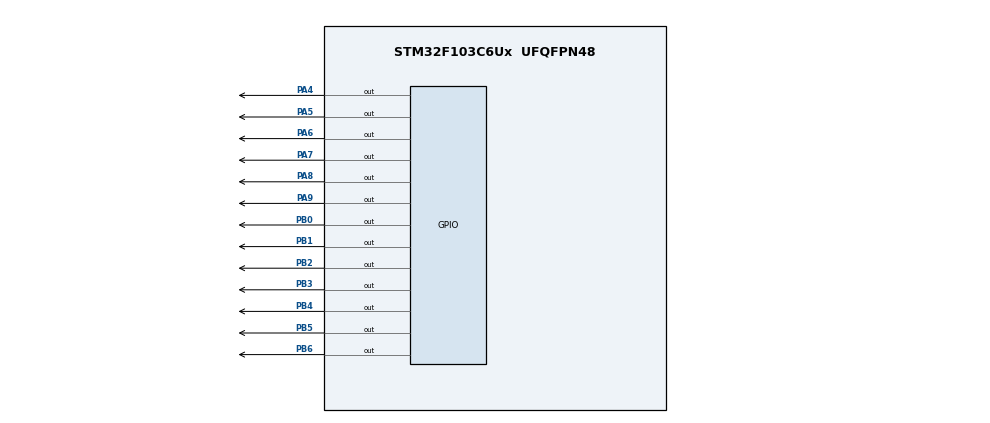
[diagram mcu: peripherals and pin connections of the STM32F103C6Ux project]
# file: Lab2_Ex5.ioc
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Mcu.Family=STM32F1
Mcu.Name=STM32F103C6Ux
Mcu.Package=UFQFPN48
NVIC.PriorityGroup=NVIC_PRIORITYGROUP_4
NVIC.TIM2_IRQn=true\:0\:0\:false\:false\:true\:true\:true
PA4.Signal=GPIO_Output
PA5.Signal=GPIO_Output
PA6.Signal=GPIO_Output
PA7.Signal=GPIO_Output
PA8.Signal=GPIO_Output
PA9.Signal=GPIO_Output
PB0.Signal=GPIO_Output
PB1.Signal=GPIO_Output
PB2.Signal=GPIO_Output
PB3.Signal=GPIO_Output
PB4.Signal=GPIO_Output
PB5.Signal=GPIO_Output
PB6.Signal=GPIO_Output
ProjectManager.HeapSize=0x200
ProjectManager.StackSize=0x400
ProjectManager.TargetToolchain=STM32CubeIDE
RCC.APB1Freq_Value=8000000
RCC.APB2Freq_Value=8000000
TIM2.Prescaler=7999
VP_SYS_VS_ND.Mode=No_Debug
VP_TIM2_VS_ClockSourceINT.Mode=Internal
board=custom

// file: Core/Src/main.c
/* USER CODE BEGIN Header */
/**
  ******************************************************************************
  * @file           : main.c
  * @brief          : Main program body
  ******************************************************************************
  */
/* USER CODE END Header */
#include "main.h"

TIM_HandleTypeDef htim2;

/* USER CODE BEGIN PV */
const int MAX_LED = 4;
int index_led = 0;
int led_buffer[4] = {0, 0, 0, 0};
int counter_scan = 25;
int counter_dot = 100;
int hour = 15;
int minute = 59;
int second = 45;
/* USER CODE END PV */

void SystemClock_Config(void);
static void MX_TIM2_Init(void);
static void MX_GPIO_Init(void);
/* USER CODE BEGIN PFP */
void display7SEG(int num);
void update7SEG(int index);
void updateClockBuffer(void);
/* USER CODE END PFP */

/* USER CODE BEGIN 0 */
const uint8_t SEG_CODES[10] = {
    0x40,
    0x79,
    0x24,
    0x30,
    0x19,
    0x12,
    0x02,
    0x78,
    0x00,
    0x10
};

void display7SEG(int num) {
    if(num < 0 || num > 9) return;

    uint8_t code = SEG_CODES[num];

    HAL_GPIO_WritePin(GPIOB, GPIO_PIN_0, ((code >> 0) & 0x01) ? GPIO_PIN_SET : GPIO_PIN_RESET);
    HAL_GPIO_WritePin(GPIOB, GPIO_PIN_1, ((code >> 1) & 0x01) ? GPIO_PIN_SET : GPIO_PIN_RESET);
    HAL_GPIO_WritePin(GPIOB, GPIO_PIN_2, ((code >> 2) & 0x01) ? GPIO_PIN_SET : GPIO_PIN_RESET);
    HAL_GPIO_WritePin(GPIOB, GPIO_PIN_3, ((code >> 3) & 0x01) ? GPIO_PIN_SET : GPIO_PIN_RESET);
    HAL_GPIO_WritePin(GPIOB, GPIO_PIN_4, ((code >> 4) & 0x01) ? GPIO_PIN_SET : GPIO_PIN_RESET);
    HAL_GPIO_WritePin(GPIOB, GPIO_PIN_5, ((code >> 5) & 0x01) ? GPIO_PIN_SET : GPIO_PIN_RESET);
    HAL_GPIO_WritePin(GPIOB, GPIO_PIN_6, ((code >> 6) & 0x01) ? GPIO_PIN_SET : GPIO_PIN_RESET);
}

void update7SEG(int index) {
    switch (index) {
        case 0:
            display7SEG(led_buffer[0]);
            HAL_GPIO_WritePin(GPIOA, GPIO_PIN_6, GPIO_PIN_RESET);
            break;
        case 1:
            display7SEG(led_buffer[1]);
            HAL_GPIO_WritePin(GPIOA, GPIO_PIN_7, GPIO_PIN_RESET);
            break;
        case 2:
            display7SEG(led_buffer[2]);
            HAL_GPIO_WritePin(GPIOA, GPIO_PIN_8, GPIO_PIN_RESET);
            break;
        case 3:
            display7SEG(led_buffer[3]);
            HAL_GPIO_WritePin(GPIOA, GPIO_PIN_9, GPIO_PIN_RESET);
            break;
        default:
            break;
    }
}

void updateClockBuffer() {
    led_buffer[0] = hour / 10;
    led_buffer[1] = hour % 10;
    led_buffer[2] = minute / 10;
    led_buffer[3] = minute % 10;
}
/* USER CODE END 0 */

int main(void)
{
  /* MCU Configuration--------------------------------------------------------*/
  HAL_Init();
  SystemClock_Config();
  MX_TIM2_Init();
  MX_GPIO_Init();

  /* USER CODE BEGIN 2 */
  HAL_TIM_Base_Start_IT(&htim2);
  updateClockBuffer();
  /* USER CODE END 2 */

  /* Infinite loop */
  /* USER CODE BEGIN WHILE */
  while (1)
  {
      second++;
      if (second >= 60) {
          second = 0;
          minute++;

          if (minute >= 60) {
              minute = 0;
              hour++;

              if (hour >= 24) {
                  hour = 0;
              }
          }
      }

      updateClockBuffer();
      HAL_Delay(1000);
    /* USER CODE END WHILE */
  }
}

void SystemClock_Config(void)
{
  RCC_OscInitTypeDef RCC_OscInitStruct = {0};
  RCC_ClkInitTypeDef RCC_ClkInitStruct = {0};

  RCC_OscInitStruct.OscillatorType = RCC_OSCILLATORTYPE_HSI;
  RCC_OscInitStruct.HSIState = RCC_HSI_ON;
  RCC_OscInitStruct.HSICalibrationValue = RCC_HSICALIBRATION_DEFAULT;
  RCC_OscInitStruct.PLL.PLLState = RCC_PLL_NONE;
  if (HAL_RCC_OscConfig(&RCC_OscInitStruct) != HAL_OK)
  {
    Error_Handler();
  }
  RCC_ClkInitStruct.ClockType = RCC_CLOCKTYPE_HCLK|RCC_CLOCKTYPE_SYSCLK
                              |RCC_CLOCKTYPE_PCLK1|RCC_CLOCKTYPE_PCLK2;
  RCC_ClkInitStruct.SYSCLKSource = RCC_SYSCLKSOURCE_HSI;
  RCC_ClkInitStruct.AHBCLKDivider = RCC_SYSCLK_DIV1;
  RCC_ClkInitStruct.APB1CLKDivider = RCC_HCLK_DIV1;
  RCC_ClkInitStruct.APB2CLKDivider = RCC_HCLK_DIV1;

  if (HAL_RCC_ClockConfig(&RCC_ClkInitStruct, FLASH_LATENCY_0) != HAL_OK)
  {
    Error_Handler();
  }
}

static void MX_TIM2_Init(void)
{
  TIM_ClockConfigTypeDef sClockSourceConfig = {0};
  TIM_MasterConfigTypeDef sMasterConfig = {0};

  htim2.Instance = TIM2;
  htim2.Init.Prescaler = 7999;
  htim2.Init.CounterMode = TIM_COUNTERMODE_UP;
  htim2.Init.Period = 9;
  htim2.Init.ClockDivision = TIM_CLOCKDIVISION_DIV1;
  htim2.Init.AutoReloadPreload = TIM_AUTORELOAD_PRELOAD_DISABLE;
  if (HAL_TIM_Base_Init(&htim2) != HAL_OK)
  {
    Error_Handler();
  }
  sClockSourceConfig.ClockSource = TIM_CLOCKSOURCE_INTERNAL;
  if (HAL_TIM_ConfigClockSource(&htim2, &sClockSourceConfig) != HAL_OK)
  {
    Error_Handler();
  }
  sMasterConfig.MasterOutputTrigger = TIM_TRGO_RESET;
  sMasterConfig.MasterSlaveMode = TIM_MASTERSLAVEMODE_DISABLE;
  if (HAL_TIMEx_MasterConfigSynchronization(&htim2, &sMasterConfig) != HAL_OK)
  {
    Error_Handler();
  }
}

static void MX_GPIO_Init(void)
{
  GPIO_InitTypeDef GPIO_InitStruct = {0};

  /* GPIO Ports Clock Enable */
  __HAL_RCC_GPIOA_CLK_ENABLE();
  __HAL_RCC_GPIOB_CLK_ENABLE();

  /*Configure GPIO pin Output Level */
  HAL_GPIO_WritePin(GPIOA, GPIO_PIN_4, GPIO_PIN_RESET);
  HAL_GPIO_WritePin(GPIOA, GPIO_PIN_6|GPIO_PIN_7|GPIO_PIN_8|GPIO_PIN_9, GPIO_PIN_SET);

  /*Configure GPIO pin Output Level */
  HAL_GPIO_WritePin(GPIOB, GPIO_PIN_0|GPIO_PIN_1|GPIO_PIN_2|GPIO_PIN_3|GPIO_PIN_4
                          |GPIO_PIN_5|GPIO_PIN_6, GPIO_PIN_SET);

  /*Configure GPIO pins : PA4 PA6 PA7 PA8 PA9 */
  GPIO_InitStruct.Pin = GPIO_PIN_4|GPIO_PIN_6|GPIO_PIN_7|GPIO_PIN_8|GPIO_PIN_9;
  GPIO_InitStruct.Mode = GPIO_MODE_OUTPUT_PP;
  GPIO_InitStruct.Pull = GPIO_NOPULL;
  GPIO_InitStruct.Speed = GPIO_SPEED_FREQ_LOW;
  HAL_GPIO_Init(GPIOA, &GPIO_InitStruct);

  /*Configure GPIO pins : PB0 PB1 PB2 PB3 PB4 PB5 PB6 */
  GPIO_InitStruct.Pin = GPIO_PIN_0|GPIO_PIN_1|GPIO_PIN_2|GPIO_PIN_3|GPIO_PIN_4
                          |GPIO_PIN_5|GPIO_PIN_6;
  GPIO_InitStruct.Mode = GPIO_MODE_OUTPUT_PP;
  GPIO_InitStruct.Pull = GPIO_NOPULL;
  GPIO_InitStruct.Speed = GPIO_SPEED_FREQ_LOW;
  HAL_GPIO_Init(GPIOB, &GPIO_InitStruct);
}

/* USER CODE BEGIN 4 */
void HAL_TIM_PeriodElapsedCallback(TIM_HandleTypeDef *htim)
{
    if (htim->Instance == TIM2) {
        counter_scan++;
        if (counter_scan >= 25) {
            counter_scan = 0;
            HAL_GPIO_WritePin(GPIOA, GPIO_PIN_6 | GPIO_PIN_7 | GPIO_PIN_8 | GPIO_PIN_9, GPIO_PIN_SET);
            update7SEG(index_led);
            index_led++;
            if (index_led >= MAX_LED) index_led = 0;
        }
        counter_dot++;
        if (counter_dot >= 100) {
            counter_dot = 0;
            HAL_GPIO_TogglePin(GPIOA, GPIO_PIN_4);
        }
    }
}
/* USER CODE END 4 */

void Error_Handler(void)
{
  __disable_irq();
  while (1)
  {
  }
}
